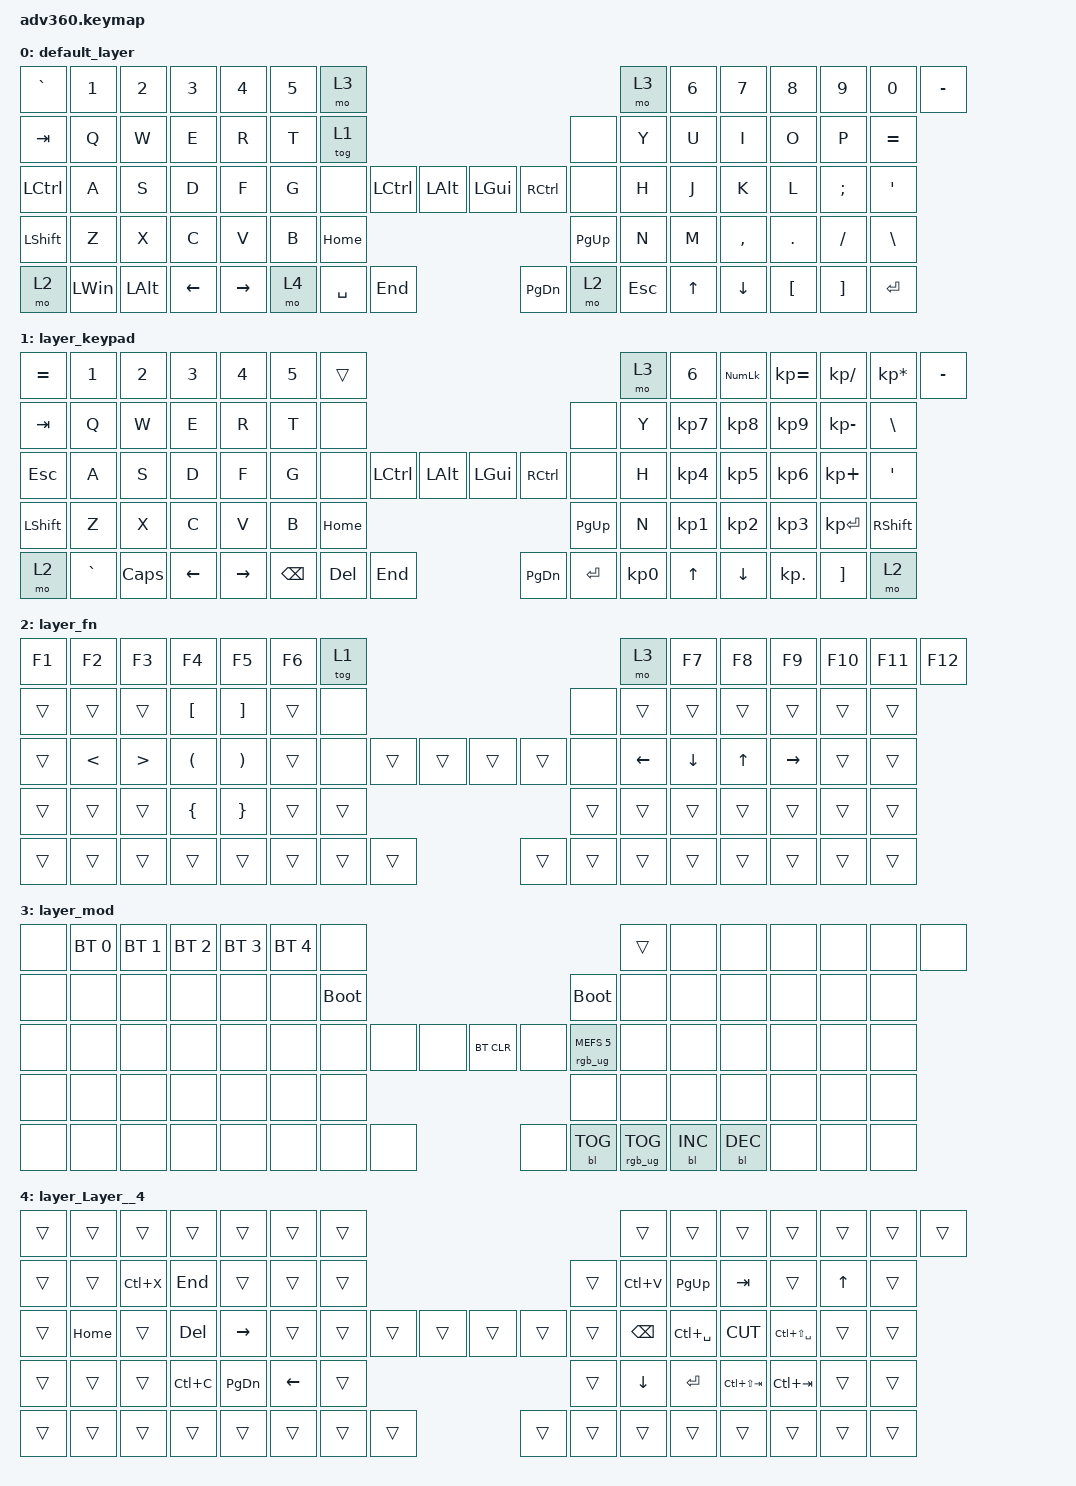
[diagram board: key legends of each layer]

/*
 * Copyright (c) 2020 The ZMK Contributors
 *
 * SPDX-License-Identifier: MIT
 */


/* THIS FILE WAS GENERATED!
 *
 * This file was generated automatically. You may or may not want to
 * edit it directly.
 */

#include <behaviors.dtsi>
#include <dt-bindings/zmk/keys.h>
#include <dt-bindings/zmk/bt.h>
#include <dt-bindings/zmk/rgb.h>
#include <dt-bindings/zmk/backlight.h>

/ {
  behaviors {
    #include "macros.dtsi"

    hm: homerow_mods {
        compatible = "zmk,behavior-hold-tap";
        label = "HOMEROW_MODS";
        #binding-cells = <2>;
        tapping-term-ms = <200>;
        quick_tap_ms = <175>;
        flavor = "tap-preferred";
        bindings = <&kp>, <&kp>;
    };
  };

    keymap {
        compatible = "zmk,keymap";


        default_layer {
            bindings = <
 &kp GRAVE        &kp N1        &kp N2    &kp N3     &kp N4  &kp N5             &mo 3                                                               &mo 3  &kp N6  &kp N7     &kp N8    &kp N9    &kp N0  &kp MINUS
   &kp TAB         &kp Q         &kp W     &kp E      &kp R   &kp T            &tog 1                                                               &none   &kp Y   &kp U      &kp I     &kp O     &kp P  &kp EQUAL
 &kp LCTRL         &kp A         &kp S     &kp D      &kp F   &kp G             &none  &kp LCTRL  &kp LALT                   &kp LGUI  &kp RCTRL    &none   &kp H   &kp J      &kp K     &kp L  &kp SEMI    &kp SQT
 &kp LSHFT         &kp Z         &kp X     &kp C      &kp V   &kp B                               &kp HOME                  &kp PG_UP                       &kp N   &kp M  &kp COMMA   &kp DOT  &kp FSLH   &kp BSLH
     &mo 2  &kp LEFT_WIN  &kp LEFT_ALT  &kp LEFT  &kp RIGHT                     &mo 4  &kp SPACE   &kp END                  &kp PG_DN      &mo 2  &kp ESC          &kp UP   &kp DOWN  &kp LBKT  &kp RBKT  &kp ENTER
            >;
        };

        layer_keypad {
            bindings = <
 &kp EQUAL     &kp N1    &kp N2    &kp N3     &kp N4  &kp N5              &trans                                                                 &mo 3  &kp N6  &kp KP_NUM  &kp KP_EQUAL  &kp KP_DIVIDE  &kp KP_MULTIPLY  &kp MINUS
   &kp TAB      &kp Q     &kp W     &kp E      &kp R   &kp T               &none                                                                 &none   &kp Y   &kp KP_N7     &kp KP_N8      &kp KP_N9     &kp KP_MINUS   &kp BSLH
   &kp ESC      &kp A     &kp S     &kp D      &kp F   &kp G               &none  &kp LCTRL  &kp LALT                   &kp LGUI  &kp RCTRL      &none   &kp H   &kp KP_N4     &kp KP_N5      &kp KP_N6      &kp KP_PLUS    &kp SQT
 &kp LSHFT      &kp Z     &kp X     &kp C      &kp V   &kp B                                 &kp HOME                  &kp PG_UP                         &kp N   &kp KP_N1     &kp KP_N2      &kp KP_N3     &kp KP_ENTER  &kp RSHFT
     &mo 2  &kp GRAVE  &kp CAPS  &kp LEFT  &kp RIGHT                    &kp BSPC    &kp DEL   &kp END                  &kp PG_DN  &kp ENTER  &kp KP_N0              &kp UP      &kp DOWN     &kp KP_DOT         &kp RBKT      &mo 2
            >;
        };

        layer_fn {
            bindings = <
 &kp F1         &kp F2            &kp F3                &kp F4                 &kp F5  &kp F6            &tog 1                                                   &mo 3    &kp F7    &kp F8  &kp F9    &kp F10  &kp F11  &kp F12
 &trans         &trans            &trans      &kp LEFT_BRACKET      &kp RIGHT_BRACKET  &trans             &none                                                   &none    &trans    &trans  &trans     &trans   &trans   &trans
 &trans  &kp LESS_THAN  &kp GREATER_THAN  &kp LEFT_PARENTHESIS  &kp RIGHT_PARENTHESIS  &trans             &none  &trans  &trans                  &trans  &trans   &none  &kp LEFT  &kp DOWN  &kp UP  &kp RIGHT   &trans   &trans
 &trans         &trans            &trans        &kp LEFT_BRACE        &kp RIGHT_BRACE  &trans                            &trans                  &trans                    &trans    &trans  &trans     &trans   &trans   &trans
 &trans         &trans            &trans                &trans                 &trans                    &trans  &trans  &trans                  &trans  &trans  &trans              &trans  &trans     &trans   &trans   &trans
            >;
        };

        layer_mod {
            bindings = <
  &none  &bt BT_SEL 0  &bt BT_SEL 1  &bt BT_SEL 2  &bt BT_SEL 3  &bt BT_SEL 4                  &none                                                                          &trans   &none       &none       &none   &none   &none   &none
  &none         &none         &none         &none         &none         &none            &bootloader                                                                     &bootloader   &none       &none       &none   &none   &none   &none
  &none         &none         &none         &none         &none         &none                  &none   &none   &none                  &bt BT_CLR       &none  &rgb_ug RGB_MEFS_CMD 5   &none       &none       &none   &none   &none   &none
  &none         &none         &none         &none         &none         &none                                  &none                       &none                                       &none       &none       &none   &none   &none   &none
  &none         &none         &none         &none         &none                                &none   &none   &none                       &none  &bl BL_TOG         &rgb_ug RGB_TOG          &bl BL_INC  &bl BL_DEC   &none   &none   &none
            >;
        };

        layer_Layer__4 {
            bindings = <
 &trans    &trans     &trans     &trans         &trans    &trans            &trans                                                  &trans         &trans         &trans           &trans             &trans  &trans  &trans
 &trans    &trans  &kp LC(X)    &kp END         &trans    &trans            &trans                                                  &trans      &kp LC(V)    &kp PAGE_UP          &kp TAB             &trans  &kp UP  &trans
 &trans  &kp HOME     &trans    &kp DEL      &kp RIGHT    &trans            &trans  &trans  &trans                  &trans  &trans  &trans  &kp BACKSPACE  &kp LC(SPACE)        &kp K_CUT  &kp LC(LS(SPACE))  &trans  &trans
 &trans    &trans     &trans  &kp LC(C)  &kp PAGE_DOWN  &kp LEFT                            &trans                  &trans                       &kp DOWN      &kp ENTER  &kp LC(LS(TAB))        &kp LC(TAB)  &trans  &trans
 &trans    &trans     &trans     &trans         &trans                      &trans  &trans  &trans                  &trans  &trans  &trans                        &trans           &trans             &trans  &trans  &trans
            >;
        };

    };
};
